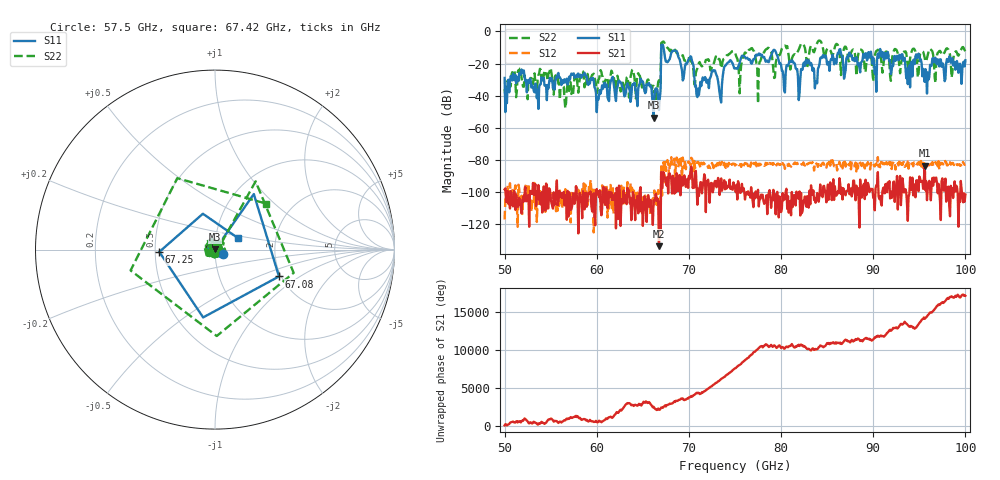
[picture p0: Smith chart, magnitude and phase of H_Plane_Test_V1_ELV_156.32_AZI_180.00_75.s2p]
! 11/27/2026 8:52:13 AM
! C:\ANRITSUVNA\TEMP\TEMP.S2P
! CHANNEL.1
! TR.MEASUREMENT
! RAW.DATA
# HZ S RI R 50.0
! FREQ.HZ  S11RE  S11IM  S21RE  S21IM  S12RE  S12IM  S22RE  S22IM
!; PortSelection: Port_12
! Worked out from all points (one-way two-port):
!   601 points, 50 GHz to 100 GHz, reference 50 ohm
!   highest |S21| = -83.69 dB at 95.58 GHz (marker M1); lowest = -134.0 dB at 66.75 GHz (marker M2)
!   lowest |S11| = -53.7 dB at 66.17 GHz (marker M3), VSWR 1.00, Z = 50.1 + j0.151 ohm
!   |S11| at or under -10 dB: start of sweep to 67 GHz; 67.24 GHz to end of sweep
!   |S22| runs from -47.9 to -5.6 dB; largest |S21 - S12| = 0.00016
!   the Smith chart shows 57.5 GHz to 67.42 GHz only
!   S11 on the Smith chart (normalised r, x): 57.5 GHz: 1.09, -0.05; 67.08 GHz: 1.95, -0.69; 67.25 GHz: 0.53, -0.01; 67.42 GHz: 1.29, +0.17
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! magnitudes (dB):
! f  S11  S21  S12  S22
! 50 GHz  -29.0  -98.6  -117.3  -35.8
! 51.67 GHz  -26.2  -108.3  -106.2  -23.2
! 53.42 GHz  -34.7  -108.9  -107.0  -35.3
! 57.5 GHz  -26.1  -104.7  -107.0  -34.5
! 58.42 GHz  -27.2  -116.6  -98.3  -24.7
! 60.17 GHz  -42.6  -99.7  -101.8  -30.2
! 66.17 GHz  -53.7  -105.5  -109.5  -34.0
! 66.67 GHz  -41.8  -106.9  -99.0  -31.6
! 66.75 GHz  -49.0  -134.0  -106.1  -30.4
! 67.08 GHz  -8.3  -98.0  -102.4  -6.8
! 67.25 GHz  -10.2  -87.8  -81.6  -6.3
! 67.42 GHz  -16.8  -91.3  -81.6  -8.3
! 70.25 GHz  -15.9  -84.2  -78.8  -18.7
! 70.92 GHz  -40.9  -108.1  -81.4  -23.1
! 75 GHz  -23.1  -96.7  -83.7  -13.0
! 79.25 GHz  -11.4  -105.5  -83.7  -29.0
! 80.25 GHz  -27.9  -105.3  -83.2  -9.3
! 83.42 GHz  -24.5  -102.0  -81.6  -10.9
! 91.67 GHz  -16.5  -97.4  -83.8  -15.3
! 94.83 GHz  -15.0  -92.9  -83.1  -28.7
! 95.58 GHz  -31.4  -83.7  -91.0  -16.5
! 100 GHz  -17.9  -101.8  -82.9  -12.6
